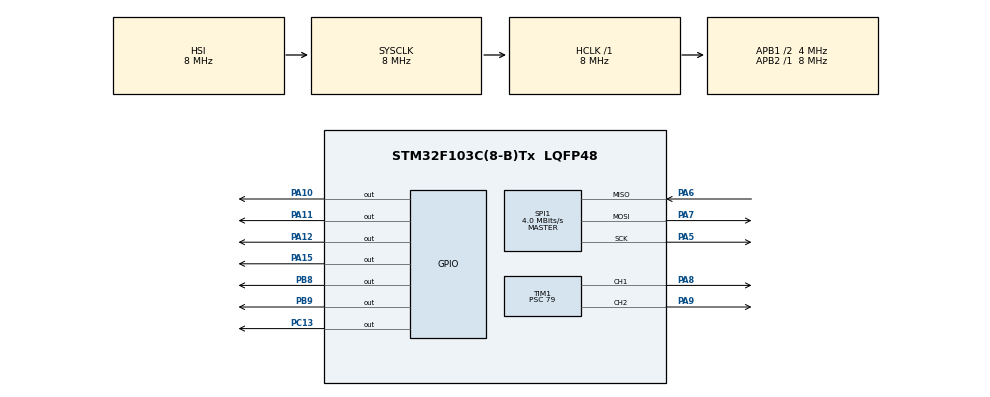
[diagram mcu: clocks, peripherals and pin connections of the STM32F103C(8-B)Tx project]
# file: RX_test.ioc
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FREERTOS.Tasks01=defaultTask,0,128,StartDefaultTask,Default,NULL,Dynamic,NULL,NULL
Mcu.Family=STM32F1
Mcu.Name=STM32F103C(8-B)Tx
Mcu.Package=LQFP48
NVIC.PriorityGroup=NVIC_PRIORITYGROUP_4
NVIC.TIM4_IRQn=true\:15\:0\:false\:false\:true\:false\:false\:true\:true
NVIC.TimeBase=TIM4_IRQn
NVIC.TimeBaseIP=TIM4
PA10.Signal=GPIO_Output
PA11.Signal=GPIO_Output
PA12.Signal=GPIO_Output
PA13.Mode=Serial_Wire
PA13.Signal=SYS_JTMS-SWDIO
PA14.Mode=Serial_Wire
PA14.Signal=SYS_JTCK-SWCLK
PA15.Signal=GPIO_Output
PA5.Mode=Full_Duplex_Master
PA5.Signal=SPI1_SCK
PA6.Mode=Full_Duplex_Master
PA6.Signal=SPI1_MISO
PA7.Mode=Full_Duplex_Master
PA7.Signal=SPI1_MOSI
PA8.Signal=S_TIM1_CH1
PA9.Signal=S_TIM1_CH2
PB8.Signal=GPIO_Output
PB9.Signal=GPIO_Output
PC13-TAMPER-RTC.Signal=GPIO_Output
PD0-OSC_IN.Mode=HSE-External-Oscillator
PD0-OSC_IN.Signal=RCC_OSC_IN
PD1-OSC_OUT.Mode=HSE-External-Oscillator
PD1-OSC_OUT.Signal=RCC_OSC_OUT
ProjectManager.HeapSize=0x200
ProjectManager.StackSize=0x400
ProjectManager.TargetToolchain=MDK-ARM V5.32
RCC.AHBFreq_Value=8000000
RCC.APB1CLKDivider=RCC_HCLK_DIV2
RCC.APB1Freq_Value=4000000
RCC.APB1TimFreq_Value=8000000
RCC.APB2Freq_Value=8000000
RCC.APB2TimFreq_Value=8000000
RCC.HCLKFreq_Value=8000000
RCC.SYSCLKFreq_VALUE=8000000
RCC.USBFreq_Value=8000000
SH.S_TIM1_CH1.0=TIM1_CH1,PWM Generation1 CH1
SH.S_TIM1_CH2.0=TIM1_CH2,PWM Generation2 CH2
SPI1.BaudRatePrescaler=SPI_BAUDRATEPRESCALER_2
SPI1.CalculateBaudRate=4.0 MBits/s
SPI1.Direction=SPI_DIRECTION_2LINES
SPI1.Mode=SPI_MODE_MASTER
SPI1.VirtualType=VM_MASTER
TIM1.Channel-PWM\ Generation1\ CH1=TIM_CHANNEL_1
TIM1.Channel-PWM\ Generation2\ CH2=TIM_CHANNEL_2
TIM1.Period=999
TIM1.Prescaler=79
TIM1.Pulse-PWM\ Generation1\ CH1=0
VP_FREERTOS_VS_CMSIS_V1.Mode=CMSIS_V1
VP_SYS_VS_tim4.Mode=TIM4
VP_TIM1_VS_ClockSourceINT.Mode=Internal
board=custom

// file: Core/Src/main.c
/* USER CODE BEGIN Header */
/**
  ******************************************************************************
  * @file           : main.c
  * @brief          : Main program body
  ******************************************************************************
  * @attention
  *
  * Copyright (c) 2024 STMicroelectronics.
  * All rights reserved.
  *
  * This software is licensed under terms that can be found in the LICENSE file
  * in the root directory of this software component.
  * If no LICENSE file comes with this software, it is provided AS-IS.
  *
  ******************************************************************************
  */
/* USER CODE END Header */
#include "main.h"
#include "cmsis_os.h"

/* USER CODE BEGIN Includes */
#include "MY_NRF24.h"
#include "stdio.h"
#include "string.h"

#define   RIGHT_FORWARD(x)  HAL_GPIO_WritePin(GPIOA,GPIO_PIN_15,x)  //right motors forward
#define   RIGHT_BACKWARD(x)  HAL_GPIO_WritePin(GPIOA,GPIO_PIN_12,x)  //right motors forward
#define   LEFT_FORWARD(x)  HAL_GPIO_WritePin(GPIOA,GPIO_PIN_11,x)  //right motors forward
#define   LEFT_BACKWARD(x)  HAL_GPIO_WritePin(GPIOA,GPIO_PIN_10,x)  //right motors forward

/* USER CODE END Includes */

SPI_HandleTypeDef hspi1;

TIM_HandleTypeDef htim1;

TaskHandle_t Task1_Handle;
/* USER CODE BEGIN PV */
TaskHandle_t Task2_Handle;

TaskHandle_t Task3_Handle;
/* USER CODE END PV */

void SystemClock_Config(void);
static void MX_GPIO_Init(void);
static void MX_SPI1_Init(void);
static void MX_TIM1_Init(void);
void Start_Task1(void * Param);

/* USER CODE BEGIN PFP */
void Start_Task2 (void * Param);

void Start_Task3 (void * Param);
/* USER CODE END PFP */

/* USER CODE BEGIN 0 */
uint64_t RxpipeAddrs = 0x11223344AA;
char myRxData[50];
uint8_t Rx_command = 0;
uint8_t Speed_index = 0;
uint32_t Speed =0;

/* USER CODE END 0 */

int main(void)
{

  /* MCU Configuration--------------------------------------------------------*/

  /* Reset of all peripherals, Initializes the Flash interface and the Systick. */
  HAL_Init();

  /* Configure the system clock */
  SystemClock_Config();

  /* Initialize all configured peripherals */
  MX_GPIO_Init();
  MX_SPI1_Init();
  MX_TIM1_Init();
  /* USER CODE BEGIN 2 */

	HAL_TIM_PWM_Start(&htim1, TIM_CHANNEL_1);
	NRF24_begin(GPIOB, GPIO_PIN_9, GPIO_PIN_8, hspi1);

	NRF24_startListening();
	NRF24_openReadingPipe(1, RxpipeAddrs);

	NRF24_setAutoAck(true);
	NRF24_setChannel(52);
	NRF24_setPayloadSize(32);

	NRF24_enableDynamicPayloads();
	NRF24_enableAckPayload();

	HAL_TIM_PWM_Start(&htim1, TIM_CHANNEL_1);
	HAL_TIM_PWM_Start(&htim1, TIM_CHANNEL_2);

  /* USER CODE END 2 */

  /* Create the thread(s) */
  /* definition and creation of defaultTask */
//  osThreadDef(Task1, Start_Task1, osPriorityNormal, 0, 128);
//  Task1_Handle = osThreadCreate(osThread(Task1), NULL);

	xTaskCreate(Start_Task1, "Task1", 128, NULL, osPriorityNormal,Task1_Handle);

  /* USER CODE BEGIN RTOS_THREADS */

	xTaskCreate(Start_Task2, "Task2", 128, NULL, osPriorityAboveNormal,Task2_Handle);

	xTaskCreate(Start_Task3, "Task3", 128, NULL, osPriorityAboveNormal,Task3_Handle);
  /* add threads, ... */
  /* USER CODE END RTOS_THREADS */

  /* Start scheduler */
  osKernelStart();

  /* We should never get here as control is now taken by the scheduler */
  /* Infinite loop */
  while (1)
  {

  }
}

void SystemClock_Config(void)
{
  RCC_OscInitTypeDef RCC_OscInitStruct = {0};
  RCC_ClkInitTypeDef RCC_ClkInitStruct = {0};

  /** Initializes the RCC Oscillators according to the specified parameters
  * in the RCC_OscInitTypeDef structure.
  */
  RCC_OscInitStruct.OscillatorType = RCC_OSCILLATORTYPE_HSI;
  RCC_OscInitStruct.HSIState = RCC_HSI_ON;
  RCC_OscInitStruct.HSICalibrationValue = RCC_HSICALIBRATION_DEFAULT;
  RCC_OscInitStruct.PLL.PLLState = RCC_PLL_NONE;
  if (HAL_RCC_OscConfig(&RCC_OscInitStruct) != HAL_OK)
  {
    Error_Handler();
  }

  /** Initializes the CPU, AHB and APB buses clocks
  */
  RCC_ClkInitStruct.ClockType = RCC_CLOCKTYPE_HCLK|RCC_CLOCKTYPE_SYSCLK
                              |RCC_CLOCKTYPE_PCLK1|RCC_CLOCKTYPE_PCLK2;
  RCC_ClkInitStruct.SYSCLKSource = RCC_SYSCLKSOURCE_HSI;
  RCC_ClkInitStruct.AHBCLKDivider = RCC_SYSCLK_DIV1;
  RCC_ClkInitStruct.APB1CLKDivider = RCC_HCLK_DIV2;
  RCC_ClkInitStruct.APB2CLKDivider = RCC_HCLK_DIV1;

  if (HAL_RCC_ClockConfig(&RCC_ClkInitStruct, FLASH_LATENCY_0) != HAL_OK)
  {
    Error_Handler();
  }
}

static void MX_SPI1_Init(void)
{

  /* SPI1 parameter configuration*/
  hspi1.Instance = SPI1;
  hspi1.Init.Mode = SPI_MODE_MASTER;
  hspi1.Init.Direction = SPI_DIRECTION_2LINES;
  hspi1.Init.DataSize = SPI_DATASIZE_8BIT;
  hspi1.Init.CLKPolarity = SPI_POLARITY_LOW;
  hspi1.Init.CLKPhase = SPI_PHASE_1EDGE;
  hspi1.Init.NSS = SPI_NSS_SOFT;
  hspi1.Init.BaudRatePrescaler = SPI_BAUDRATEPRESCALER_2;
  hspi1.Init.FirstBit = SPI_FIRSTBIT_MSB;
  hspi1.Init.TIMode = SPI_TIMODE_DISABLE;
  hspi1.Init.CRCCalculation = SPI_CRCCALCULATION_DISABLE;
  hspi1.Init.CRCPolynomial = 10;
  if (HAL_SPI_Init(&hspi1) != HAL_OK)
  {
    Error_Handler();
  }

}

static void MX_TIM1_Init(void)
{

  TIM_ClockConfigTypeDef sClockSourceConfig = {0};
  TIM_MasterConfigTypeDef sMasterConfig = {0};
  TIM_OC_InitTypeDef sConfigOC = {0};
  TIM_BreakDeadTimeConfigTypeDef sBreakDeadTimeConfig = {0};

  htim1.Instance = TIM1;
  htim1.Init.Prescaler = 79;
  htim1.Init.CounterMode = TIM_COUNTERMODE_UP;
  htim1.Init.Period = 999;
  htim1.Init.ClockDivision = TIM_CLOCKDIVISION_DIV1;
  htim1.Init.RepetitionCounter = 0;
  htim1.Init.AutoReloadPreload = TIM_AUTORELOAD_PRELOAD_DISABLE;
  if (HAL_TIM_Base_Init(&htim1) != HAL_OK)
  {
    Error_Handler();
  }
  sClockSourceConfig.ClockSource = TIM_CLOCKSOURCE_INTERNAL;
  if (HAL_TIM_ConfigClockSource(&htim1, &sClockSourceConfig) != HAL_OK)
  {
    Error_Handler();
  }
  if (HAL_TIM_PWM_Init(&htim1) != HAL_OK)
  {
    Error_Handler();
  }
  sMasterConfig.MasterOutputTrigger = TIM_TRGO_RESET;
  sMasterConfig.MasterSlaveMode = TIM_MASTERSLAVEMODE_DISABLE;
  if (HAL_TIMEx_MasterConfigSynchronization(&htim1, &sMasterConfig) != HAL_OK)
  {
    Error_Handler();
  }
  sConfigOC.OCMode = TIM_OCMODE_PWM1;
  sConfigOC.Pulse = 0;
  sConfigOC.OCPolarity = TIM_OCPOLARITY_HIGH;
  sConfigOC.OCNPolarity = TIM_OCNPOLARITY_HIGH;
  sConfigOC.OCFastMode = TIM_OCFAST_DISABLE;
  sConfigOC.OCIdleState = TIM_OCIDLESTATE_RESET;
  sConfigOC.OCNIdleState = TIM_OCNIDLESTATE_RESET;
  if (HAL_TIM_PWM_ConfigChannel(&htim1, &sConfigOC, TIM_CHANNEL_1) != HAL_OK)
  {
    Error_Handler();
  }
  if (HAL_TIM_PWM_ConfigChannel(&htim1, &sConfigOC, TIM_CHANNEL_2) != HAL_OK)
  {
    Error_Handler();
  }
  sBreakDeadTimeConfig.OffStateRunMode = TIM_OSSR_DISABLE;
  sBreakDeadTimeConfig.OffStateIDLEMode = TIM_OSSI_DISABLE;
  sBreakDeadTimeConfig.LockLevel = TIM_LOCKLEVEL_OFF;
  sBreakDeadTimeConfig.DeadTime = 0;
  sBreakDeadTimeConfig.BreakState = TIM_BREAK_DISABLE;
  sBreakDeadTimeConfig.BreakPolarity = TIM_BREAKPOLARITY_HIGH;
  sBreakDeadTimeConfig.AutomaticOutput = TIM_AUTOMATICOUTPUT_DISABLE;
  if (HAL_TIMEx_ConfigBreakDeadTime(&htim1, &sBreakDeadTimeConfig) != HAL_OK)
  {
    Error_Handler();
  }
  HAL_TIM_MspPostInit(&htim1);

}

static void MX_GPIO_Init(void)
{
  GPIO_InitTypeDef GPIO_InitStruct = {0};

  /* GPIO Ports Clock Enable */
  __HAL_RCC_GPIOC_CLK_ENABLE();
  __HAL_RCC_GPIOD_CLK_ENABLE();
  __HAL_RCC_GPIOA_CLK_ENABLE();
  __HAL_RCC_GPIOB_CLK_ENABLE();

  /*Configure GPIO pin Output Level */
  HAL_GPIO_WritePin(GPIOC, GPIO_PIN_13, GPIO_PIN_RESET);

  /*Configure GPIO pin Output Level */
  HAL_GPIO_WritePin(GPIOA, GPIO_PIN_10|GPIO_PIN_11|GPIO_PIN_12|GPIO_PIN_15, GPIO_PIN_RESET);

  /*Configure GPIO pin Output Level */
  HAL_GPIO_WritePin(GPIOB, GPIO_PIN_8|GPIO_PIN_9, GPIO_PIN_RESET);

  /*Configure GPIO pin : PC13 */
  GPIO_InitStruct.Pin = GPIO_PIN_13;
  GPIO_InitStruct.Mode = GPIO_MODE_OUTPUT_PP;
  GPIO_InitStruct.Pull = GPIO_NOPULL;
  GPIO_InitStruct.Speed = GPIO_SPEED_FREQ_LOW;
  HAL_GPIO_Init(GPIOC, &GPIO_InitStruct);

  /*Configure GPIO pins : PA10 PA11 PA12 PA15 */
  GPIO_InitStruct.Pin = GPIO_PIN_10|GPIO_PIN_11|GPIO_PIN_12|GPIO_PIN_15;
  GPIO_InitStruct.Mode = GPIO_MODE_OUTPUT_PP;
  GPIO_InitStruct.Pull = GPIO_NOPULL;
  GPIO_InitStruct.Speed = GPIO_SPEED_FREQ_LOW;
  HAL_GPIO_Init(GPIOA, &GPIO_InitStruct);

  /*Configure GPIO pins : PB8 PB9 */
  GPIO_InitStruct.Pin = GPIO_PIN_8|GPIO_PIN_9;
  GPIO_InitStruct.Mode = GPIO_MODE_OUTPUT_PP;
  GPIO_InitStruct.Pull = GPIO_NOPULL;
  GPIO_InitStruct.Speed = GPIO_SPEED_FREQ_LOW;
  HAL_GPIO_Init(GPIOB, &GPIO_InitStruct);

}

/* USER CODE BEGIN 4 */

void Start_Task2(void  * Param)
{

  while(1)
  {
		if (Speed_index ==0) Speed =0;
		else Speed = Speed_index *250-1;
		__HAL_TIM_SET_COMPARE(&htim1, TIM_CHANNEL_1,Speed);
		__HAL_TIM_SET_COMPARE(&htim1, TIM_CHANNEL_2,Speed);

    osDelay(1);
  }

}

void Start_Task3(void  * Param)
{

  while(1)
  {
		if(NRF24_available())
		{
		NRF24_read(myRxData, 32);
		}
		Rx_command = myRxData[0];
		Speed_index = myRxData[1];

    osDelay(1);
  }

}
/* USER CODE END 4 */

void Start_Task1(void  * Param)
{
  /* USER CODE BEGIN 5 */
  /* Infinite loop */
  for(;;)
  {
		if (Rx_command ==1)// move forward
		{
			RIGHT_FORWARD(1);
			LEFT_FORWARD(1);
			RIGHT_BACKWARD(0);
			LEFT_BACKWARD(0);
		}
		else if (Rx_command ==2)// move reverse
		{
			RIGHT_FORWARD(0);
			LEFT_FORWARD(0);
			RIGHT_BACKWARD(1);
			LEFT_BACKWARD (1);
		}
		else if (Rx_command ==3)// left
		{
			RIGHT_FORWARD(1);
			LEFT_BACKWARD(1);
			RIGHT_BACKWARD(0);
			LEFT_FORWARD(0);
		}
		else if (Rx_command ==4) // right
		{
			LEFT_FORWARD(1);
			RIGHT_BACKWARD(1);
			LEFT_BACKWARD(0);
			RIGHT_FORWARD(0);
		}
		else if (Rx_command ==0)
		{
			LEFT_FORWARD(0);
			RIGHT_BACKWARD(0);
			LEFT_BACKWARD(0);
			RIGHT_FORWARD(0);
		}
		else
		{
			LEFT_FORWARD(0);
			RIGHT_BACKWARD(0);
			LEFT_BACKWARD(0);
			RIGHT_FORWARD(0);
		}
    osDelay(1);
  }
  /* USER CODE END 5 */
}

void HAL_TIM_PeriodElapsedCallback(TIM_HandleTypeDef *htim)
{
  if (htim->Instance == TIM4) {
    HAL_IncTick();
  }
}

void Error_Handler(void)
{
  __disable_irq();
  while (1)
  {
  }
}
